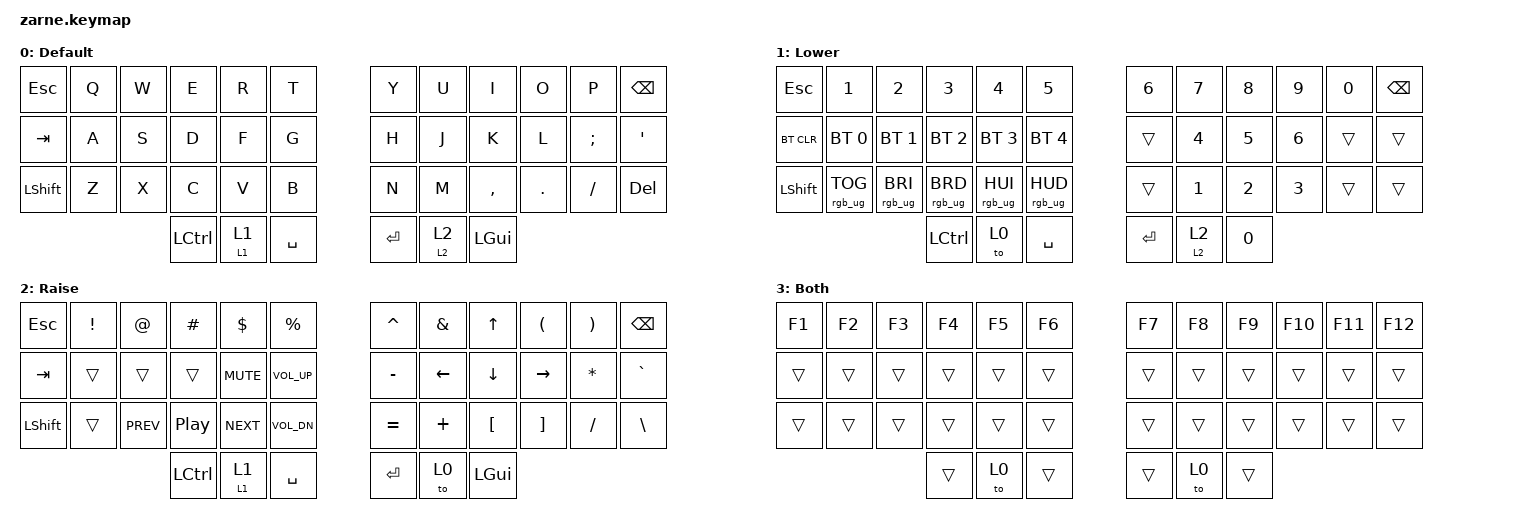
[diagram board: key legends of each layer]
/*
 * Copyright (c) 2020 The ZMK Contributors
 *
 * SPDX-License-Identifier: MIT
 */

#include <behaviors.dtsi>
#include <dt-bindings/zmk/bt.h>
#include <dt-bindings/zmk/keys.h>
#include <dt-bindings/zmk/rgb.h>

/ {
    combos {
        compatible = "zmk,combos";

        Both {
            bindings = <&fix 0 3>;
            key-positions = <37 40>;
        };

        Alt {
            bindings = <&kp LEFT_ALT>;
            key-positions = <40 41>;
        };
    };

    behaviors {
        Raise: Raise {
            compatible = "zmk,behavior-hold-tap";
            label = "RAISE";
            bindings = <&mo>, <&to>;

            #binding-cells = <2>;
            tapping-term-ms = <200>;
            hold-while-undecided;
        };

        Lower: Lower {
            compatible = "zmk,behavior-hold-tap";
            label = "LOWER";
            bindings = <&mo>, <&to>;

            #binding-cells = <2>;
            tapping-term-ms = <200>;
            flavor = "balanced";
            hold-while-undecided;
        };

        fix: fix {
            compatible = "zmk,behavior-hold-tap";
            label = "FIX";
            bindings = <&to>, <&to>;

            #binding-cells = <2>;
            tapping-term-ms = <200>;
            flavor = "balanced";
        };
    };

    keymap {
        compatible = "zmk,keymap";

        Default {
            // -----------------------------------------------------------------------------------------
            // |  TAB |  Q  |  W  |  E  |  R  |  T  |   |  Y  |  U   |  I  |  O  |  P  | BSPC |
            // | CTRL |  A  |  S  |  D  |  F  |  G  |   |  H  |  J   |  K  |  L  |  ;  |  '   |
            // | SHFT |  Z  |  X  |  C  |  V  |  B  |   |  N  |  M   |  ,  |  .  |  /  | ESC  |
            //                    | GUI | LWR | SPC |   | ENT | RSE  | ALT |

            bindings = <
&kp ESC    &kp Q  &kp W  &kp E      &kp R       &kp T        &kp Y    &kp U       &kp I         &kp O    &kp P     &kp BSPC
&kp TAB    &kp A  &kp S  &kp D      &kp F       &kp G        &kp H    &kp J       &kp K         &kp L    &kp SEMI  &kp SQT
&kp LSHFT  &kp Z  &kp X  &kp C      &kp V       &kp B        &kp N    &kp M       &kp COMMA     &kp DOT  &kp FSLH  &kp DEL
                         &kp LCTRL  &Lower 1 1  &kp SPACE    &kp RET  &Raise 2 2  &kp LEFT_GUI
            >;
        };

        Lower {
            // -----------------------------------------------------------------------------------------
            // |  TAB |  1  |  2  |  3  |  4  |  5  |   |  6  |  7  |  8  |  9  |  0  | BSPC |
            // | BTCLR| BT1 | BT2 | BT3 | BT4 | BT5 |   | LFT | DWN |  UP | RGT |     |      |
            // | SHFT |     |     |     |     |     |   |     |     |     |     |     |      |
            //                    | GUI |     | SPC |   | ENT |     | ALT |

            bindings = <
&kp ESCAPE  &kp N1           &kp N2           &kp N3           &kp N4           &kp N5             &kp N6   &kp N7      &kp N8  &kp N9  &kp N0  &kp BSPC
&bt BT_CLR  &bt BT_SEL 0     &bt BT_SEL 1     &bt BT_SEL 2     &bt BT_SEL 3     &bt BT_SEL 4       &trans   &kp N4      &kp N5  &kp N6  &trans  &trans
&kp LSHFT   &rgb_ug RGB_TOG  &rgb_ug RGB_BRI  &rgb_ug RGB_BRD  &rgb_ug RGB_HUI  &rgb_ug RGB_HUD    &trans   &kp N1      &kp N2  &kp N3  &trans  &trans
                                              &kp LCTRL        &to 0            &kp SPACE          &kp RET  &Raise 2 2  &kp N0
            >;
        };

        Raise {
            // -----------------------------------------------------------------------------------------
            // |  TAB |  !  |  @  |  #  |  $  |  %  |   |  ^  |  &  |  *  |  (  |  )  | BSPC |
            // | CTRL |     |     |     |     |     |   |  -  |  =  |  [  |  ]  |  \  |  `   |
            // | SHFT |     |     |     |     |     |   |  _  |  +  |  {  |  }  | "|" |  ~   |
            //                    | GUI |     | SPC |   | ENT |     | ALT |

            bindings = <
&kp ESC    &kp EXCL  &kp AT      &kp HASH   &kp DLLR    &kp PRCNT       &kp CARET  &kp AMPS  &kp UP            &kp LPAR           &kp RPAR      &kp BSPC
&kp TAB    &trans    &trans      &trans     &kp C_MUTE  &kp C_VOL_UP    &kp MINUS  &kp LEFT  &kp DOWN          &kp RIGHT          &kp ASTERISK  &kp GRAVE
&kp LSHFT  &trans    &kp C_PREV  &kp C_PP   &kp C_NEXT  &kp C_VOL_DN    &kp EQUAL  &kp PLUS  &kp LEFT_BRACKET  &kp RIGHT_BRACKET  &kp SLASH     &kp BSLH
                                 &kp LCTRL  &Lower 1 1  &kp SPACE       &kp RET    &to 0     &kp LEFT_GUI
            >;
        };

        Both {
            bindings = <
&kp F1  &kp F2  &kp F3  &kp F4  &kp F5  &kp F6    &kp F7  &kp F8  &kp F9  &kp F10  &kp F11  &kp F12
&trans  &trans  &trans  &trans  &trans  &trans    &trans  &trans  &trans  &trans   &trans   &trans
&trans  &trans  &trans  &trans  &trans  &trans    &trans  &trans  &trans  &trans   &trans   &trans
                        &trans  &to 0   &trans    &trans  &to 0   &trans
            >;
        };
    };

    kscan0: kscan {
        compatible = "zmk,kscan-gpio-matrix";
        wakeup-source;
        diode-direction = "col2row";
        row-gpios =
            <&gpio1 0 (GPIO_ACTIVE_HIGH | GPIO_PULL_DOWN)>,
            <&gpio0 11 (GPIO_ACTIVE_HIGH | GPIO_PULL_DOWN)>,
            <&gpio1 4 (GPIO_ACTIVE_HIGH | GPIO_PULL_DOWN)>,
            <&gpio1 6 (GPIO_ACTIVE_HIGH | GPIO_PULL_DOWN)>;
    };
};
